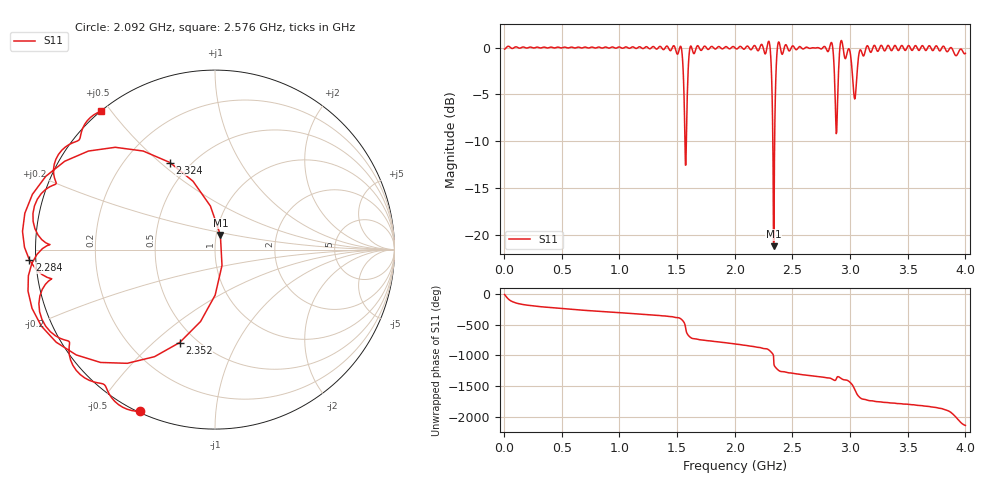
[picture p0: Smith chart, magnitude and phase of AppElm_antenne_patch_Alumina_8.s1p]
! TOUCHSTONE file generated by CST MICROWAVE STUDIO
! Date and time: Thu Jun  9 16:03:43 2022
! Project name: AppElm_antenne_patch_Alumina.cst
! Parameters = {L=30.5; W=41.8; e=0.035; h=1.6; lambda=0.190476; ls=99; w0=1.12; w1=0.373; ws=90; y0=14; y1=10}
! Header version: 2018
! Port assignment regex: !\s*Touchstone port\s*([0-9]+)\s*=\s*(CST MWS port|CST DS port)\s*([0-9]+|Zmin|Zmax)\s*\(\"(.*)\"\)(\s*mode\s*([0-9]+))?.*
! Touchstone port assignment:
! Touchstone port 1 = CST MWS port 1 ("")
# GHz S MA R 50
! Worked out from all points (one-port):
!   1000 points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, 4 MHz to 4 GHz, reference 50 ohm
!   lowest |S11| = -21.2 dB at 2.336 GHz (marker M1), VSWR 1.19, Z = 52.4 + j8.66 ohm
!   |S11| at or under -10 dB: 1.568 GHz to 1.58 GHz (11.93 MHz wide, 0.758 % of centre); 2.33 GHz to 2.346 GHz (15.95 MHz wide, 0.682 % of centre)
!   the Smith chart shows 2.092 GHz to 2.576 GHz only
!   S11 on the Smith chart (normalised r, x): 2.092 GHz: 0.00, -0.64; 2.284 GHz: -0.02, -0.03; 2.324 GHz: 0.39, +0.54; 2.352 GHz: 0.41, -0.61; 2.576 GHz: 0.00, +0.47
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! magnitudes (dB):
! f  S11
! 4 MHz  -0.2
! 504 MHz  0.0
! 1.004 GHz  0.0
! 1.504 GHz  -0.7
! 1.536 GHz  0.0
! 1.56 GHz  -5.2
! 1.576 GHz  -12.5
! 1.608 GHz  -0.3
! 1.624 GHz  0.1
! 2.004 GHz  -0.1
! 2.092 GHz  0.0
! 2.284 GHz  0.3
! 2.308 GHz  -0.3
! 2.324 GHz  -5.3
! 2.336 GHz  -21.2
! 2.352 GHz  -5.1
! 2.368 GHz  -0.3
! 2.38 GHz  0.6
! 2.504 GHz  0.2
! 2.576 GHz  0.0
! 2.836 GHz  0.5
! 2.88 GHz  -9.2
! 2.924 GHz  0.8
! 3.004 GHz  -0.8
! 3.04 GHz  -5.5
! 3.092 GHz  -0.3
! 3.504 GHz  0.2
! 4 GHz  -0.6
